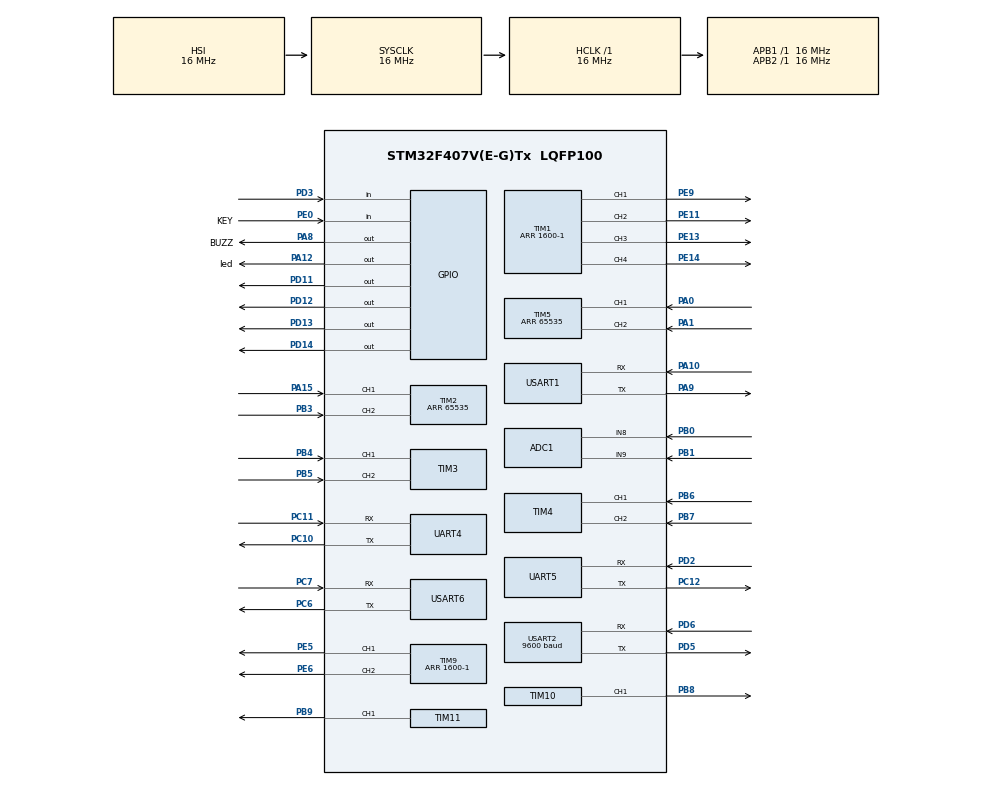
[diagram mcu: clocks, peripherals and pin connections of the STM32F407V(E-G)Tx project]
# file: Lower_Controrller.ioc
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ADC1.Channel-0\#ChannelRegularConversion=ADC_CHANNEL_8
ADC1.NbrOfConversionFlag=1
ADC1.Rank-0\#ChannelRegularConversion=1
ADC1.SamplingTime-0\#ChannelRegularConversion=ADC_SAMPLETIME_3CYCLES
ADC1.master=1
Dma.Request0=USART6_RX
Dma.USART6_RX.0.Direction=DMA_PERIPH_TO_MEMORY
Dma.USART6_RX.0.FIFOMode=DMA_FIFOMODE_DISABLE
Dma.USART6_RX.0.Instance=DMA2_Stream1
Dma.USART6_RX.0.MemDataAlignment=DMA_MDATAALIGN_BYTE
Dma.USART6_RX.0.MemInc=DMA_MINC_ENABLE
Dma.USART6_RX.0.Mode=DMA_NORMAL
Dma.USART6_RX.0.PeriphDataAlignment=DMA_PDATAALIGN_BYTE
Dma.USART6_RX.0.PeriphInc=DMA_PINC_DISABLE
Dma.USART6_RX.0.Priority=DMA_PRIORITY_LOW
Mcu.Family=STM32F4
Mcu.Name=STM32F407V(E-G)Tx
Mcu.Package=LQFP100
NVIC.ADC_IRQn=true\:0\:0\:false\:false\:true\:true\:true\:true
NVIC.DMA2_Stream1_IRQn=true\:0\:0\:false\:false\:true\:false\:true\:true
NVIC.PriorityGroup=NVIC_PRIORITYGROUP_4
NVIC.TIM7_IRQn=true\:1\:0\:true\:false\:true\:false\:true\:true
NVIC.TimeBase=TIM7_IRQn
NVIC.TimeBaseIP=TIM7
NVIC.UART4_IRQn=true\:0\:0\:false\:false\:true\:true\:true\:true
NVIC.UART5_IRQn=true\:0\:0\:false\:false\:true\:true\:true\:true
NVIC.USART1_IRQn=true\:0\:0\:false\:false\:true\:true\:true\:true
NVIC.USART2_IRQn=true\:0\:0\:false\:false\:true\:true\:true\:true
NVIC.USART6_IRQn=true\:0\:0\:false\:false\:true\:true\:true\:true
PA0-WKUP.GPIO_PuPd=GPIO_PULLUP
PA0-WKUP.GPIO_Speed=GPIO_SPEED_FREQ_VERY_HIGH
PA0-WKUP.Signal=S_TIM5_CH1
PA1.GPIO_PuPd=GPIO_PULLUP
PA1.GPIO_Speed=GPIO_SPEED_FREQ_VERY_HIGH
PA1.Signal=S_TIM5_CH2
PA10.Mode=Asynchronous
PA10.Signal=USART1_RX
PA12.GPIO_Label=led
PA12.Signal=GPIO_Output
PA13.Mode=Serial_Wire
PA13.Signal=SYS_JTMS-SWDIO
PA14.Mode=Serial_Wire
PA14.Signal=SYS_JTCK-SWCLK
PA15.GPIO_PuPd=GPIO_PULLUP
PA15.GPIO_Speed=GPIO_SPEED_FREQ_VERY_HIGH
PA15.Signal=S_TIM2_CH1_ETR
PA8.GPIO_Label=BUZZ
PA8.Signal=GPIO_Output
PA9.Mode=Asynchronous
PA9.Signal=USART1_TX
PB0.Signal=ADCx_IN8
PB1.Signal=ADCx_IN9
PB3.GPIO_PuPd=GPIO_PULLUP
PB3.GPIO_Speed=GPIO_SPEED_FREQ_VERY_HIGH
PB3.Signal=S_TIM2_CH2
PB4.GPIO_PuPd=GPIO_PULLUP
PB4.GPIO_Speed=GPIO_SPEED_FREQ_VERY_HIGH
PB4.Signal=S_TIM3_CH1
PB5.GPIO_PuPd=GPIO_PULLUP
PB5.GPIO_Speed=GPIO_SPEED_FREQ_VERY_HIGH
PB5.Signal=S_TIM3_CH2
PB6.GPIO_PuPd=GPIO_PULLUP
PB6.GPIO_Speed=GPIO_SPEED_FREQ_VERY_HIGH
PB6.Signal=S_TIM4_CH1
PB7.GPIO_PuPd=GPIO_PULLUP
PB7.GPIO_Speed=GPIO_SPEED_FREQ_VERY_HIGH
PB7.Signal=S_TIM4_CH2
PB8.GPIO_PuPd=GPIO_PULLUP
PB8.GPIO_Speed=GPIO_SPEED_FREQ_VERY_HIGH
PB8.Signal=S_TIM10_CH1
PB9.GPIO_PuPd=GPIO_PULLUP
PB9.GPIO_Speed=GPIO_SPEED_FREQ_VERY_HIGH
PB9.Signal=S_TIM11_CH1
PC10.Mode=Asynchronous
PC10.Signal=UART4_TX
PC11.Mode=Asynchronous
PC11.Signal=UART4_RX
PC12.Mode=Asynchronous
PC12.Signal=UART5_TX
PC6.Mode=Asynchronous
PC6.Signal=USART6_TX
PC7.Mode=Asynchronous
PC7.Signal=USART6_RX
PD11.Signal=GPIO_Output
PD12.Signal=GPIO_Output
PD13.Signal=GPIO_Output
PD14.Signal=GPIO_Output
PD2.Mode=Asynchronous
PD2.Signal=UART5_RX
PD3.Signal=GPIO_Input
PD5.Mode=Asynchronous
PD5.Signal=USART2_TX
PD6.Mode=Asynchronous
PD6.Signal=USART2_RX
PE0.GPIO_Label=KEY
PE0.Signal=GPIO_Input
PE11.GPIO_PuPd=GPIO_PULLUP
PE11.GPIO_Speed=GPIO_SPEED_FREQ_VERY_HIGH
PE11.Signal=S_TIM1_CH2
PE13.Signal=S_TIM1_CH3
PE14.Signal=S_TIM1_CH4
PE5.GPIO_PuPd=GPIO_PULLUP
PE5.GPIO_Speed=GPIO_SPEED_FREQ_VERY_HIGH
PE5.Signal=S_TIM9_CH1
PE6.GPIO_PuPd=GPIO_PULLUP
PE6.GPIO_Speed=GPIO_SPEED_FREQ_VERY_HIGH
PE6.Signal=S_TIM9_CH2
PE9.GPIO_PuPd=GPIO_PULLUP
PE9.GPIO_Speed=GPIO_SPEED_FREQ_VERY_HIGH
PE9.Signal=S_TIM1_CH1
PH0-OSC_IN.Mode=HSE-External-Oscillator
PH0-OSC_IN.Signal=RCC_OSC_IN
PH1-OSC_OUT.Mode=HSE-External-Oscillator
PH1-OSC_OUT.Signal=RCC_OSC_OUT
ProjectManager.HeapSize=0x200
ProjectManager.StackSize=0x400
ProjectManager.TargetToolchain=MDK-ARM V5
RCC.48MHZClocksFreq_Value=48000000
RCC.AHBFreq_Value=16000000
RCC.APB1Freq_Value=16000000
RCC.APB1TimCLKDivider=1
RCC.APB1TimFreq_Value=16000000
RCC.APB2Freq_Value=16000000
RCC.APB2TimCLKDivider=1
RCC.APB2TimFreq_Value=16000000
RCC.CortexFreq_Value=16000000
RCC.HCLKFreq_Value=16000000
RCC.HSE_VALUE=25000000
RCC.HSI_VALUE=16000000
RCC.LSE_VALUE=32768
RCC.SYSCLKFreq_VALUE=16000000
RCC.VCOOutputFreq_Value=192000000
SH.ADCx_IN8.0=ADC1_IN8,IN8
SH.ADCx_IN9.0=ADC1_IN9,IN9
SH.S_TIM10_CH1.0=TIM10_CH1,PWM Generation1 CH1
SH.S_TIM11_CH1.0=TIM11_CH1,PWM Generation1 CH1
SH.S_TIM1_CH1.0=TIM1_CH1,PWM Generation1 CH1
SH.S_TIM1_CH2.0=TIM1_CH2,PWM Generation2 CH2
SH.S_TIM1_CH3.0=TIM1_CH3,PWM Generation3 CH3
SH.S_TIM1_CH4.0=TIM1_CH4,PWM Generation4 CH4
SH.S_TIM2_CH1_ETR.0=TIM2_CH1,Encoder_Interface
SH.S_TIM2_CH2.0=TIM2_CH2,Encoder_Interface
SH.S_TIM3_CH1.0=TIM3_CH1,Encoder_Interface
SH.S_TIM3_CH2.0=TIM3_CH2,Encoder_Interface
SH.S_TIM4_CH1.0=TIM4_CH1,Encoder_Interface
SH.S_TIM4_CH2.0=TIM4_CH2,Encoder_Interface
SH.S_TIM5_CH1.0=TIM5_CH1,Encoder_Interface
SH.S_TIM5_CH2.0=TIM5_CH2,Encoder_Interface
SH.S_TIM9_CH1.0=TIM9_CH1,PWM Generation1 CH1
SH.S_TIM9_CH2.0=TIM9_CH2,PWM Generation2 CH2
TIM1.AutoReloadPreload=TIM_AUTORELOAD_PRELOAD_ENABLE
TIM1.Channel-PWM\ Generation1\ CH1=TIM_CHANNEL_1
TIM1.Channel-PWM\ Generation2\ CH2=TIM_CHANNEL_2
TIM1.Channel-PWM\ Generation3\ CH3=TIM_CHANNEL_3
TIM1.Channel-PWM\ Generation4\ CH4=TIM_CHANNEL_4
TIM1.Period=1600-1
TIM10.AutoReloadPreload=TIM_AUTORELOAD_PRELOAD_ENABLE
TIM10.Channel=TIM_CHANNEL_1
TIM10.Period=1600-1
TIM11.AutoReloadPreload=TIM_AUTORELOAD_PRELOAD_ENABLE
TIM11.Channel=TIM_CHANNEL_1
TIM11.Period=1600-1
TIM2.EncoderMode=TIM_ENCODERMODE_TI12
TIM2.IC1Filter=5
TIM2.IC2Filter=5
TIM2.Period=65535
TIM3.EncoderMode=TIM_ENCODERMODE_TI12
TIM3.IC1Filter=5
TIM3.IC2Filter=5
TIM4.EncoderMode=TIM_ENCODERMODE_TI12
TIM4.IC1Filter=5
TIM4.IC2Filter=5
TIM5.EncoderMode=TIM_ENCODERMODE_TI12
TIM5.IC1Filter=5
TIM5.IC2Filter=5
TIM5.Period=65535
TIM9.AutoReloadPreload=TIM_AUTORELOAD_PRELOAD_ENABLE
TIM9.Channel-PWM\ Generation1\ CH1=TIM_CHANNEL_1
TIM9.Channel-PWM\ Generation2\ CH2=TIM_CHANNEL_2
TIM9.Period=1600-1
UART4.VirtualMode=Asynchronous
UART5.VirtualMode=Asynchronous
USART1.VirtualMode=VM_ASYNC
USART2.BaudRate=9600
USART2.VirtualMode=VM_ASYNC
USART6.VirtualMode=VM_ASYNC
VP_SYS_VS_tim7.Mode=TIM7
VP_TIM10_VS_ClockSourceINT.Mode=Enable_Timer
VP_TIM11_VS_ClockSourceINT.Mode=Enable_Timer
VP_TIM9_VS_ClockSourceINT.Mode=Internal
board=custom

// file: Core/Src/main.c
/* USER CODE BEGIN Header */
/**
  ******************************************************************************
  * @file           : main.c
  * @brief          : Main program body
  ******************************************************************************
  * @attention
  *
  * Copyright (c) 2025 STMicroelectronics.
  * All rights reserved.
  *
  * This software is licensed under terms that can be found in the LICENSE file
  * in the root directory of this software component.
  * If no LICENSE file comes with this software, it is provided AS-IS.
  *
  ******************************************************************************
  */
/* USER CODE END Header */
#include "main.h"
#include "adc.h"
#include "tim.h"
#include "usart.h"
#include "gpio.h"

/* USER CODE BEGIN Includes */
#include "FreeRTOS.h"
#include "task.h"
#include "show.h"
#include "system.h"
#include "esp8266_driver.h"
#include "wifi_task.h"
/* USER CODE END Includes */

/* USER CODE BEGIN PTD */
//Task priority    //任务优先级
#define START_TASK_PRIO	1

//Task stack size //任务堆栈大小
#define START_STK_SIZE 	256

//Task handle     //任务句柄
TaskHandle_t StartTask_Handler;

//Task function   //任务函数
void start_task(void *pvParameters);
/* USER CODE END PTD */

/* USER CODE BEGIN PV */
float position[3] = {0,0,0};  // 小车位置坐标
float Target_position[3] = {0,0,0};  // 小车目标位置坐标
float Target_Yaw = 0.0f;  // 小车目标角度

/* USER CODE END PV */

void SystemClock_Config(void);

int main(void)
{

  /* MCU Configuration--------------------------------------------------------*/

  /* Reset of all peripherals, Initializes the Flash interface and the Systick. */
  HAL_Init();

  /* Configure the system clock */
  SystemClock_Config();

  /* USER CODE BEGIN SysInit */
  delay_init();	/* 初始化延时函数 */
  /* USER CODE END SysInit */

  /* Initialize all configured peripherals */
  MX_GPIO_Init();
  MX_ADC1_Init();
  MX_USART2_UART_Init();
  MX_USART1_UART_Init();
  MX_TIM1_Init();
  MX_TIM2_Init();
  MX_TIM3_Init();
  MX_TIM4_Init();
  MX_TIM5_Init();
  MX_TIM9_Init();
  MX_TIM10_Init();
  MX_TIM11_Init();
  MX_UART5_Init();
  MX_USART6_UART_Init();
  MX_UART4_Init();
  /* USER CODE BEGIN 2 */
  I2C_GPIOInit();         /* 初始化I2C引脚 */
  OLED_Init();            /* 初始化OLED显示屏 */
  MPU6050_initialize();   /* 初始化MPU6050传感器 */
  DMP_Init();             /* 初始化DMP数字运动处理器 */
  Car_Mode = Mec_Car;     /* 设置小车模式为麦克纳姆轮模式 */
  Robot_Select(Car_Mode); /* 根据小车模式选择对应配置 */

  // 创建启动任务
  xTaskCreate((TaskFunction_t )start_task,            /* 任务函数 */
              (const char*    )"start_task",          /* 任务名称 */
              (uint16_t       )START_STK_SIZE,        /* 任务堆栈大小 */
              (void*          )NULL,                  /* 传递给任务的参数 */
              (UBaseType_t    )START_TASK_PRIO,       /* 任务优先级 */
              (TaskHandle_t*  )&StartTask_Handler);   /* 任务句柄 */

  vTaskStartScheduler();  /* 启动任务调度器（启动后不再返回） */
  /* USER CODE END 2 */

  /* Infinite loop */
  while (1)
  {

    /* USER CODE BEGIN 3 */
    /* 用户代码区3：循环内执行的代码（实际不会执行） */
  }
  /* USER CODE END 3 */
}

void SystemClock_Config(void)
{
  RCC_OscInitTypeDef RCC_OscInitStruct = {0};
  RCC_ClkInitTypeDef RCC_ClkInitStruct = {0};

  /** Configure the main internal regulator output voltage
  */
  __HAL_RCC_PWR_CLK_ENABLE();
  __HAL_PWR_VOLTAGESCALING_CONFIG(PWR_REGULATOR_VOLTAGE_SCALE1);

  /** Initializes the RCC Oscillators according to the specified parameters
  * in the RCC_OscInitTypeDef structure.
  */
  RCC_OscInitStruct.OscillatorType = RCC_OSCILLATORTYPE_HSI;
  RCC_OscInitStruct.HSIState = RCC_HSI_ON;
  RCC_OscInitStruct.HSICalibrationValue = RCC_HSICALIBRATION_DEFAULT;
  RCC_OscInitStruct.PLL.PLLState = RCC_PLL_NONE;
  if (HAL_RCC_OscConfig(&RCC_OscInitStruct) != HAL_OK)
  {
    Error_Handler();
  }

  /** Initializes the CPU, AHB and APB buses clocks
  */
  RCC_ClkInitStruct.ClockType = RCC_CLOCKTYPE_HCLK|RCC_CLOCKTYPE_SYSCLK
                              |RCC_CLOCKTYPE_PCLK1|RCC_CLOCKTYPE_PCLK2;
  RCC_ClkInitStruct.SYSCLKSource = RCC_SYSCLKSOURCE_HSI;
  RCC_ClkInitStruct.AHBCLKDivider = RCC_SYSCLK_DIV1;
  RCC_ClkInitStruct.APB1CLKDivider = RCC_HCLK_DIV1;
  RCC_ClkInitStruct.APB2CLKDivider = RCC_HCLK_DIV1;

  if (HAL_RCC_ClockConfig(&RCC_ClkInitStruct, FLASH_LATENCY_0) != HAL_OK)
  {
    Error_Handler();
  }
}

/* USER CODE BEGIN 4 */
/**
 * @brief  启动任务：创建系统核心任务，完成后删除自身
 * @param  pvParameters：任务参数（未使用）
 */
void start_task(void *pvParameters)
{
    taskENTER_CRITICAL(); /* 进入临界区：禁止任务调度和中断，确保任务创建完整性 */

    // 创建系统任务
    xTaskCreate(Balance_task,  "Balance_task",  BALANCE_STK_SIZE,  NULL, BALANCE_TASK_PRIO,  NULL);	/* 小车运动控制任务 */
    xTaskCreate(MPU6050_task, "MPU6050_task", MPU6050_STK_SIZE, NULL, MPU6050_TASK_PRIO, NULL);	/* IMU数据读取任务 */
    xTaskCreate(show_task,     "show_task",     SHOW_STK_SIZE,     NULL, SHOW_TASK_PRIO,     NULL); /* OLED显示任务 */
    xTaskCreate(Led_task,     "Led_task",     LED_STK_SIZE,     NULL, LED_TASK_PRIO,     NULL); /* LED指示灯任务 */
    xTaskCreate(WiFi_Task, "WiFi_Task", WIFI_TASK_STACK_SIZE, NULL, WIFI_TASK_PRIORITY, NULL);
    vTaskDelete(StartTask_Handler); /* 删除启动任务：完成使命后释放资源 */
    taskEXIT_CRITICAL();            /* 退出临界区：恢复任务调度和中断 */
}

/**
 * @brief  重定义fputc函数：实现printf通过串口输出
 * @param  ch：要发送的字符
 * @param  f：文件指针（未使用）
 * @return 发送的字符
 */
int fputc(int ch, FILE *f)
{
  /* 通过USART2发送单个字符，超时时间50ms */
  HAL_UART_Transmit(&huart2,(unsigned char *)&ch,1,50);
  return ch;
}
/* USER CODE END 4 */

void HAL_TIM_PeriodElapsedCallback(TIM_HandleTypeDef *htim)
{
  if (htim->Instance == TIM7) {
    HAL_IncTick();
  }
}

void Error_Handler(void)
{
  __disable_irq();
  while (1)
  {
  }
}
